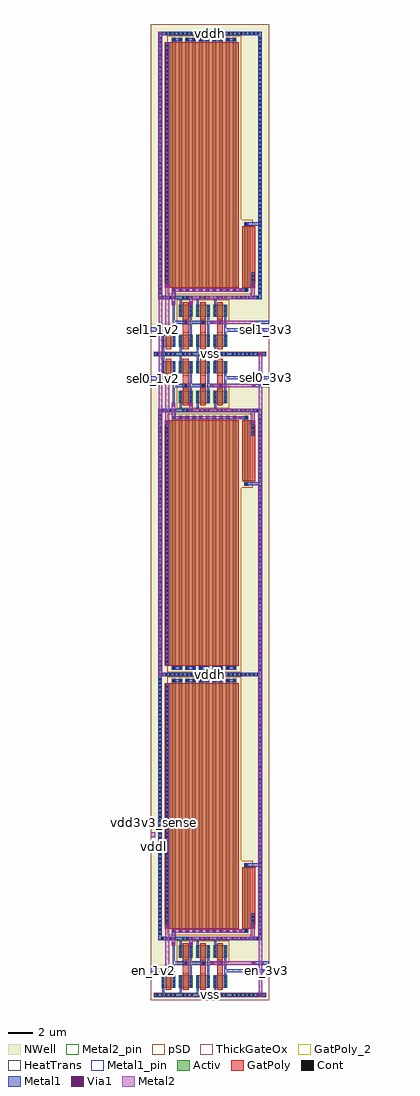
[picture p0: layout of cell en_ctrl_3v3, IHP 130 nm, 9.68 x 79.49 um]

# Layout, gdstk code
from math import pi, radians
import gdstk
lib = gdstk.Library(unit=1e-6, precision=1e-09)
def R(c, l, rs):  # rectangles x0, y0, x1, y1
    for r in rs: c.add(gdstk.rectangle(r[:2], r[2:], *l))
def A(c, l, x, y, w, h, nx, ny, dx, dy):  # array of equal rectangles
    R(c, l, [(x+i*dx, y+j*dy, x+i*dx+w, y+j*dy+h) for i in range(nx) for j in range(ny)])
Activ = (1, 0)
GatPoly = (5, 0)
GatPoly_2 = (5, 2)
Cont = (6, 0)
Metal1 = (8, 0)
Metal1_pin = (8, 2)
Metal2 = (10, 0)
Metal2_pin = (10, 2)
pSD = (14, 0)
Via1 = (19, 0)
NWell = (31, 0)
ThickGateOx = (44, 0)
HeatTrans = (51, 0)

efs_pmoshv_w1_l0p45 = lib.new_cell('efs_pmosHV_w1_l0p45')
R(efs_pmoshv_w1_l0p45, Activ, [(0,0,0.3,0.3), (0,0,1.13,1), (0.83,0,1.13,0.3)])
R(efs_pmoshv_w1_l0p45, GatPoly, [(0.34,-0.18,0.79,1.18)])
R(efs_pmoshv_w1_l0p45, GatPoly_2, [(0.34,-0.18,0.79,1.18)])
A(efs_pmoshv_w1_l0p45, Cont, 0.07, 0.07, 0.16, 0.16, 1, 3, 0, 0.35)
A(efs_pmoshv_w1_l0p45, Cont, 0.9, 0.07, 0.16, 0.16, 1, 3, 0, 0.35)
R(efs_pmoshv_w1_l0p45, Metal1, [(0.07,0,0.23,1), (0.9,0,1.06,1)])
R(efs_pmoshv_w1_l0p45, Metal1_pin, [(0.07,0,0.23,1), (0.9,0,1.06,1)])
R(efs_pmoshv_w1_l0p45, pSD, [(-0.18,-0.4,1.31,1.4)])
R(efs_pmoshv_w1_l0p45, NWell, [(-0.62,-0.62,1.75,1.62)])
R(efs_pmoshv_w1_l0p45, ThickGateOx, [(-0.62,-0.62,1.75,1.62)])
R(efs_pmoshv_w1_l0p45, HeatTrans, [(0.34,-0.18,0.79,1.18)])
efs_pmoshv_w1_l0p45.add(gdstk.Label('pmosHV', (0.565,0.5), layer=63, texttype=0))
efs_pmoshv_w1_l0p45.add(gdstk.Label('pmos', (0.565,0.5), layer=51, texttype=0))

efs_nmoshv_w1_l0p45 = lib.new_cell('efs_nmosHV_w1_l0p45')
R(efs_nmoshv_w1_l0p45, Activ, [(0,0,0.3,0.3), (0,0,1.13,1), (0.83,0,1.13,0.3)])
R(efs_nmoshv_w1_l0p45, GatPoly, [(0.34,-0.18,0.79,1.18)])
R(efs_nmoshv_w1_l0p45, GatPoly_2, [(0.34,-0.18,0.79,1.18)])
A(efs_nmoshv_w1_l0p45, Cont, 0.07, 0.07, 0.16, 0.16, 1, 3, 0, 0.35)
A(efs_nmoshv_w1_l0p45, Cont, 0.9, 0.07, 0.16, 0.16, 1, 3, 0, 0.35)
R(efs_nmoshv_w1_l0p45, Metal1, [(0.07,0,0.23,1), (0.9,0,1.06,1)])
R(efs_nmoshv_w1_l0p45, Metal1_pin, [(0.07,0,0.23,1), (0.9,0,1.06,1)])
R(efs_nmoshv_w1_l0p45, ThickGateOx, [(-0.27,-0.52,1.4,1.52)])
R(efs_nmoshv_w1_l0p45, HeatTrans, [(0.34,-0.18,0.79,1.18)])
efs_nmoshv_w1_l0p45.add(gdstk.Label('nmosHV', (0.565,0.5), layer=63, texttype=0))
efs_nmoshv_w1_l0p45.add(gdstk.Label('nmosHV', (0.565,0.5), layer=51, texttype=0))

efs_inv_hv = lib.new_cell('efs_inv_hv')
R(efs_inv_hv, Activ, [(0,0,1.255,0.3), (0,4.6,1.255,4.9)])
R(efs_inv_hv, GatPoly, [(0.34,1.91,0.79,2.99)])
A(efs_inv_hv, Cont, 0.28, 0.07, 0.16, 0.16, 3, 2, 0.34, 4.6)
R(efs_inv_hv, Cont, [(0.485,2.66,0.645,2.82)])
R(efs_inv_hv, Metal1, [(0,0,1.255,0.3), (0.07,0.3,0.23,0.73), (0.9,1.73,1.06,3.17), (0.435,2.56,0.695,2.91), (0.07,4.17,0.23,4.6), (0,4.6,1.255,4.9)])
R(efs_inv_hv, pSD, [(-0.03,-0.03,1.285,0.33)])
R(efs_inv_hv, NWell, [(-0.62,2.55,1.875,5.52)])
R(efs_inv_hv, ThickGateOx, [(-0.27,-0.27,1.525,5.17)])
efs_inv_hv.add(gdstk.Reference(efs_pmoshv_w1_l0p45, (0,3.17)))
efs_inv_hv.add(gdstk.Reference(efs_nmoshv_w1_l0p45, (0,0.73)))
efs_inv_hv.add(gdstk.Label('P', (0.565,3.67), layer=63, texttype=0))
efs_inv_hv.add(gdstk.Label('N', (0.565,1.23), layer=63, texttype=0))

efs_xn1 = lib.new_cell('efs_xn1')
R(efs_xn1, Activ, [(-0.125,0,1.235,0.3), (-0.125,4.6,1.235,4.9)])
R(efs_xn1, GatPoly, [(0.34,1.91,0.79,2.3)])
A(efs_xn1, Cont, -0.035, 0.07, 0.16, 0.16, 4, 2, 0.34, 4.6)
R(efs_xn1, Cont, [(0.485,2.04,0.645,2.2)])
R(efs_xn1, Metal1, [(-0.125,0,1.235,0.3), (0.07,0.3,0.23,0.73), (0.9,1.73,1.06,4.42), (0.435,1.97,0.695,2.32), (0.875,4.13,1.085,4.42), (-0.125,4.6,1.235,4.9)])
R(efs_xn1, pSD, [(-0.155,-0.03,1.265,0.33)])
R(efs_xn1, Via1, [(0.885,4.18,1.075,4.37)])
R(efs_xn1, NWell, [(-0.745,2.55,1.855,5.52)])
R(efs_xn1, ThickGateOx, [(-0.395,-0.27,1.505,5.17)])
efs_xn1.add(gdstk.Reference(efs_nmoshv_w1_l0p45, (0,0.73)))
efs_xn1.add(gdstk.Label('XN1', (0.565,1.23), layer=63, texttype=0))

efs_pmoshv_w0p3_l20 = lib.new_cell('efs_pmosHV_w0p3_l20')
R(efs_pmoshv_w0p3_l20, Activ, [(0,0,0.3,0.3), (0,0,20.68,0.3), (20.38,0,20.68,0.3)])
R(efs_pmoshv_w0p3_l20, GatPoly, [(0.34,-0.18,20.34,0.48)])
R(efs_pmoshv_w0p3_l20, GatPoly_2, [(0.34,-0.18,20.34,0.48)])
R(efs_pmoshv_w0p3_l20, Cont, [(0.07,0.07,0.23,0.23), (20.45,0.07,20.61,0.23)])
R(efs_pmoshv_w0p3_l20, Metal1, [(0.07,0,0.23,0.3), (20.45,0,20.61,0.3)])
R(efs_pmoshv_w0p3_l20, Metal1_pin, [(0.07,0,0.23,0.3), (20.45,0,20.61,0.3)])
R(efs_pmoshv_w0p3_l20, pSD, [(-0.18,-0.4,20.86,0.7)])
R(efs_pmoshv_w0p3_l20, NWell, [(-0.62,-0.62,21.3,0.92)])
R(efs_pmoshv_w0p3_l20, ThickGateOx, [(-0.62,-0.62,21.3,0.92)])
R(efs_pmoshv_w0p3_l20, HeatTrans, [(0.34,-0.18,20.34,0.48)])
efs_pmoshv_w0p3_l20.add(gdstk.Label('pmosHV', (10.34,0.15), layer=63, texttype=0))
efs_pmoshv_w0p3_l20.add(gdstk.Label('pmos', (10.34,0.15), layer=51, texttype=0))

efs_pmoshv_w0p3_l5 = lib.new_cell('efs_pmosHV_w0p3_l5')
R(efs_pmoshv_w0p3_l5, Activ, [(0,0,0.3,0.3), (0,0,5.68,0.3), (5.38,0,5.68,0.3)])
R(efs_pmoshv_w0p3_l5, GatPoly, [(0.34,-0.18,5.34,0.48)])
R(efs_pmoshv_w0p3_l5, GatPoly_2, [(0.34,-0.18,5.34,0.48)])
R(efs_pmoshv_w0p3_l5, Cont, [(0.07,0.07,0.23,0.23), (5.45,0.07,5.61,0.23)])
R(efs_pmoshv_w0p3_l5, Metal1, [(0.07,0,0.23,0.3), (5.45,0,5.61,0.3)])
R(efs_pmoshv_w0p3_l5, Metal1_pin, [(0.07,0,0.23,0.3), (5.45,0,5.61,0.3)])
R(efs_pmoshv_w0p3_l5, pSD, [(-0.18,-0.4,5.86,0.7)])
R(efs_pmoshv_w0p3_l5, NWell, [(-0.62,-0.62,6.3,0.92)])
R(efs_pmoshv_w0p3_l5, ThickGateOx, [(-0.62,-0.62,6.3,0.92)])
R(efs_pmoshv_w0p3_l5, HeatTrans, [(0.34,-0.18,5.34,0.48)])
efs_pmoshv_w0p3_l5.add(gdstk.Label('pmosHV', (2.84,0.15), layer=63, texttype=0))
efs_pmoshv_w0p3_l5.add(gdstk.Label('pmos', (2.84,0.15), layer=51, texttype=0))

efs_ls_core = lib.new_cell('efs_ls_core')
R(efs_ls_core, Activ, [(0.3,0,9.38,0.3), (0.62,4.6,9.06,4.9), (0.62,4.6,0.92,26.4), (8.76,4.6,9.06,26.4), (0.62,26.1,9.06,26.4)])
R(efs_ls_core, GatPoly, [(1.14,5.54,1.74,25.54), (7.94,5.54,8.54,10.54)])
A(efs_ls_core, Cont, 6.595, 0.07, 0.16, 0.16, 8, 1, 0.34, 0)
A(efs_ls_core, Cont, 6.61, 4.67, 0.16, 0.16, 7, 1, 0.34, 0)
A(efs_ls_core, Cont, 0.69, 5.05, 0.16, 0.16, 1, 62, 0, 0.34)
A(efs_ls_core, Cont, 8.83, 5.05, 0.16, 0.16, 1, 62, 0, 0.34)
A(efs_ls_core, Cont, 8.24, 5.76, 0.16, 0.16, 1, 3, 0, 0.34)
A(efs_ls_core, Cont, 1.28, 5.77, 0.16, 0.16, 1, 58, 0, 0.34)
A(efs_ls_core, Cont, 0.85, 26.17, 0.16, 0.16, 24, 1, 0.34, 0)
R(efs_ls_core, Cont, [(0.46,0.07,0.62,0.23)])
A(efs_ls_core, Metal1, 1.8, 2.61, 1.065, 0.26, 3, 1, 1.4, 0)
A(efs_ls_core, Metal1, 2.29, 5.22, 0.85, 0.26, 4, 1, 1.1, 0)
A(efs_ls_core, Metal1, 1.74, 25.6, 0.85, 0.26, 5, 1, 1.1, 0)
R(efs_ls_core, Metal1, [(0.3,0,9.38,0.3), (0,1.97,1.465,2.32), (6,1.97,9.68,2.23), (8.255,2.61,9.68,2.87), (3.175,4.13,3.385,4.42), (0.62,4.6,9.06,4.9), (0.62,4.6,0.92,26.4), (8.76,4.6,9.06,26.4), (1.74,4.9,2.04,5.48), (6.69,5.22,7.94,5.48), (1.23,5.56,1.49,25.52), (8.19,5.56,8.45,6.8), (7.64,10.6,9.06,10.86), (0.62,26.1,9.06,26.4)])
R(efs_ls_core, Metal2, [(1.215,1.97,1.505,5.87), (4.905,2.61,8.545,2.87), (1.735,4.13,2.025,5.48), (3.135,4.13,3.425,4.88), (3.135,4.62,8.465,4.88), (8.175,4.62,8.465,5.87), (1.735,5.22,7.46,5.48)])
R(efs_ls_core, pSD, [(0.27,-0.03,9.41,0.33)])
R(efs_ls_core, Via1, [(1.265,2.05,1.455,2.24), (4.955,2.645,5.145,2.835), (8.305,2.645,8.495,2.835), (3.185,4.18,3.375,4.37), (7.22,5.255,7.41,5.445), (1.265,5.625,1.455,5.815), (8.225,5.625,8.415,5.815)])
R(efs_ls_core, NWell, [(0,2.55,9.68,27.02)])
R(efs_ls_core, ThickGateOx, [(0,-0.27,9.68,27.02)])
efs_ls_core.add(gdstk.Reference(efs_inv_hv, (2.3,0)))
efs_ls_core.add(gdstk.Reference(efs_inv_hv, (3.7,0)))
efs_ls_core.add(gdstk.Reference(efs_inv_hv, (5.1,0)))
efs_ls_core.add(gdstk.Reference(efs_xn1, (0.9,0)))
efs_ls_core.add(gdstk.Reference(efs_pmoshv_w0p3_l20, (2.04,5.2), rotation=pi/2))
efs_ls_core.add(gdstk.Reference(efs_pmoshv_w0p3_l20, (2.59,5.2), rotation=pi/2))
efs_ls_core.add(gdstk.Reference(efs_pmoshv_w0p3_l20, (3.14,5.2), rotation=pi/2))
efs_ls_core.add(gdstk.Reference(efs_pmoshv_w0p3_l20, (3.69,5.2), rotation=pi/2))
efs_ls_core.add(gdstk.Reference(efs_pmoshv_w0p3_l20, (4.24,5.2), rotation=pi/2))
efs_ls_core.add(gdstk.Reference(efs_pmoshv_w0p3_l20, (4.79,5.2), rotation=pi/2))
efs_ls_core.add(gdstk.Reference(efs_pmoshv_w0p3_l20, (5.34,5.2), rotation=pi/2))
efs_ls_core.add(gdstk.Reference(efs_pmoshv_w0p3_l20, (5.89,5.2), rotation=pi/2))
efs_ls_core.add(gdstk.Reference(efs_pmoshv_w0p3_l20, (6.44,5.2), rotation=pi/2))
efs_ls_core.add(gdstk.Reference(efs_pmoshv_w0p3_l20, (6.99,5.2), rotation=pi/2))
efs_ls_core.add(gdstk.Reference(efs_pmoshv_w0p3_l5, (7.94,5.2), rotation=pi/2))
efs_ls_core.add(gdstk.Label('PL10', (1.89,15.54), layer=63, texttype=0))
efs_ls_core.add(gdstk.Label('PL9', (2.44,15.54), layer=63, texttype=0))
efs_ls_core.add(gdstk.Label('PL8', (2.99,15.54), layer=63, texttype=0))
efs_ls_core.add(gdstk.Label('PL7', (3.54,15.54), layer=63, texttype=0))
efs_ls_core.add(gdstk.Label('PL6', (4.09,15.54), layer=63, texttype=0))
efs_ls_core.add(gdstk.Label('PL5', (4.64,15.54), layer=63, texttype=0))
efs_ls_core.add(gdstk.Label('PL4', (5.19,15.54), layer=63, texttype=0))
efs_ls_core.add(gdstk.Label('PL3', (5.74,15.54), layer=63, texttype=0))
efs_ls_core.add(gdstk.Label('PL2', (6.29,15.54), layer=63, texttype=0))
efs_ls_core.add(gdstk.Label('PL1', (6.84,15.54), layer=63, texttype=0))
efs_ls_core.add(gdstk.Label('PF', (7.79,8.04), layer=63, texttype=0))

en_ctrl_3v3 = lib.new_cell('en_ctrl_3v3')
A(en_ctrl_3v3, Metal1_pin, 3.84, 0, 2, 0.3, 1, 4, 0, 26.1)
R(en_ctrl_3v3, Metal1_pin, [(0,1.97,0.5,2.32), (9.18,1.97,9.68,2.23), (9.18,2.61,9.68,2.87), (0,50.18,0.5,50.53), (9.18,50.27,9.68,50.53), (0,54.17,0.5,54.52), (9.18,54.17,9.68,54.43)])
A(en_ctrl_3v3, Metal2, 0, 12, 0.4, 0.4, 1, 3, 0, 1)
R(en_ctrl_3v3, Metal2, [(8.8,0.005,9.09,52.495), (0.67,26.105,0.96,78.595)])
A(en_ctrl_3v3, Metal2_pin, 0, 12, 0.4, 0.4, 1, 3, 0, 1)
R(en_ctrl_3v3, Via1, [(8.85,0.055,9.04,0.245), (0.72,26.155,0.91,26.345), (0.72,47.655,0.91,47.845), (8.85,52.255,9.04,52.445), (0.72,56.855,0.91,57.045), (0.72,78.355,0.91,78.545)])
en_ctrl_3v3.add(gdstk.Reference(efs_ls_core, (0,0)))
en_ctrl_3v3.add(gdstk.Reference(efs_ls_core, (0,52.2)))
en_ctrl_3v3.add(gdstk.Reference(efs_ls_core, (0,52.5), x_reflection=True))
en_ctrl_3v3.add(gdstk.Label('en_1v2', (0.25,2.145), layer=8, texttype=25))
en_ctrl_3v3.add(gdstk.Label('en_3v3', (9.43,2.1), layer=8, texttype=25))
en_ctrl_3v3.add(gdstk.Label('en_3v3_b', (9.43,2.74), layer=8, texttype=25))
en_ctrl_3v3.add(gdstk.Label('sel0_1v2', (0.25,50.355), layer=8, texttype=25))
en_ctrl_3v3.add(gdstk.Label('sel0_3v3', (9.43,50.4), layer=8, texttype=25))
en_ctrl_3v3.add(gdstk.Label('sel1_1v2', (0.25,54.345), layer=8, texttype=25))
en_ctrl_3v3.add(gdstk.Label('sel1_3v3', (9.43,54.3), layer=8, texttype=25))
en_ctrl_3v3.add(gdstk.Label('vss', (4.84,0.15), layer=8, texttype=25))
en_ctrl_3v3.add(gdstk.Label('vddh', (4.84,26.25), layer=8, texttype=25))
en_ctrl_3v3.add(gdstk.Label('vss', (4.84,52.35), layer=8, texttype=25))
en_ctrl_3v3.add(gdstk.Label('vddh', (4.84,78.45), layer=8, texttype=25))
en_ctrl_3v3.add(gdstk.Label('vddl', (0.2,12.2), layer=10, texttype=25))
en_ctrl_3v3.add(gdstk.Label('vdd1v2_sense', (0.2,13.2), layer=10, texttype=25))
en_ctrl_3v3.add(gdstk.Label('vdd3v3_sense', (0.2,14.2), layer=10, texttype=25))

lib.write_gds('en_ctrl_3v3.gds')
